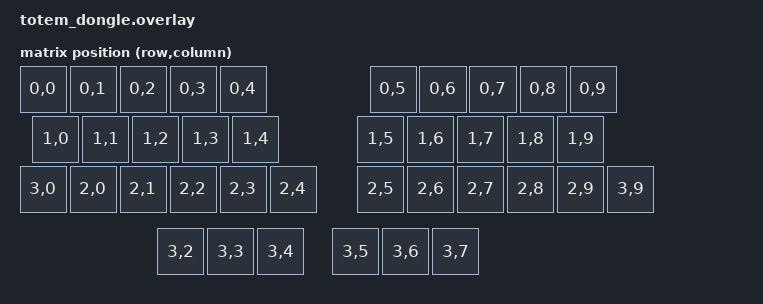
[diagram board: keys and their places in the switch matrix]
/*
 * Copyright (c) 2026
 *
 * SPDX-License-Identifier: MIT
 */

#include <dt-bindings/zmk/matrix_transform.h>
#include <physical_layouts.dtsi>

/ {
    chosen {
        zmk,kscan = &mock_kscan;
        zmk,physical-layout = &totem_physical_layout;
    };

    mock_kscan: mock_kscan_0 {
        compatible = "zmk,kscan-mock";
        columns = <0>;
        rows = <0>;
        events = <0>;
    };

    default_transform: keymap_transform_0 {
        compatible = "zmk,matrix-transform";
        columns = <10>;
        rows = <4>;
        map = <
                RC(0,0) RC(0,1) RC(0,2) RC(0,3) RC(0,4)    RC(0,5) RC(0,6) RC(0,7) RC(0,8) RC(0,9)
                RC(1,0) RC(1,1) RC(1,2) RC(1,3) RC(1,4)    RC(1,5) RC(1,6) RC(1,7) RC(1,8) RC(1,9)
        RC(3,0) RC(2,0) RC(2,1) RC(2,2) RC(2,3) RC(2,4)    RC(2,5) RC(2,6) RC(2,7) RC(2,8) RC(2,9) RC(3,9)
                                RC(3,2) RC(3,3) RC(3,4)    RC(3,5) RC(3,6) RC(3,7)
        >;
    };

    totem_physical_layout: totem_physical_layout {
        compatible = "zmk,physical-layout";
        display-name = "TOTEM";
        transform = <&default_transform>;
        kscan = <&mock_kscan>;
        keys
            = <&key_physical_attrs 100 100    0    0   0 0 0>
            , <&key_physical_attrs 100 100  100    0   0 0 0>
            , <&key_physical_attrs 100 100  200    0   0 0 0>
            , <&key_physical_attrs 100 100  300    0   0 0 0>
            , <&key_physical_attrs 100 100  400    0   0 0 0>
            , <&key_physical_attrs 100 100  700    0   0 0 0>
            , <&key_physical_attrs 100 100  800    0   0 0 0>
            , <&key_physical_attrs 100 100  900    0   0 0 0>
            , <&key_physical_attrs 100 100 1000    0   0 0 0>
            , <&key_physical_attrs 100 100 1100    0   0 0 0>
            , <&key_physical_attrs 100 100   25  100   0 0 0>
            , <&key_physical_attrs 100 100  125  100   0 0 0>
            , <&key_physical_attrs 100 100  225  100   0 0 0>
            , <&key_physical_attrs 100 100  325  100   0 0 0>
            , <&key_physical_attrs 100 100  425  100   0 0 0>
            , <&key_physical_attrs 100 100  675  100   0 0 0>
            , <&key_physical_attrs 100 100  775  100   0 0 0>
            , <&key_physical_attrs 100 100  875  100   0 0 0>
            , <&key_physical_attrs 100 100  975  100   0 0 0>
            , <&key_physical_attrs 100 100 1075  100   0 0 0>
            , <&key_physical_attrs 100 100    0  200   0 0 0>
            , <&key_physical_attrs 100 100  100  200   0 0 0>
            , <&key_physical_attrs 100 100  200  200   0 0 0>
            , <&key_physical_attrs 100 100  300  200   0 0 0>
            , <&key_physical_attrs 100 100  400  200   0 0 0>
            , <&key_physical_attrs 100 100  500  200   0 0 0>
            , <&key_physical_attrs 100 100  675  200   0 0 0>
            , <&key_physical_attrs 100 100  775  200   0 0 0>
            , <&key_physical_attrs 100 100  875  200   0 0 0>
            , <&key_physical_attrs 100 100  975  200   0 0 0>
            , <&key_physical_attrs 100 100 1075  200   0 0 0>
            , <&key_physical_attrs 100 100 1175  200   0 0 0>
            , <&key_physical_attrs 100 100  275  325   0 0 0>
            , <&key_physical_attrs 100 100  375  325   0 0 0>
            , <&key_physical_attrs 100 100  475  325   0 0 0>
            , <&key_physical_attrs 100 100  625  325   0 0 0>
            , <&key_physical_attrs 100 100  725  325   0 0 0>
            , <&key_physical_attrs 100 100  825  325   0 0 0>
            ;
    };
};
